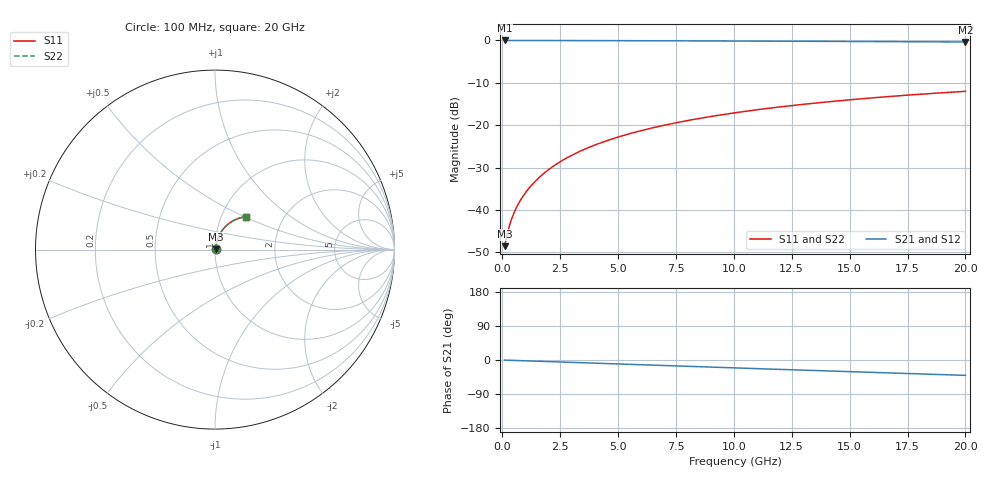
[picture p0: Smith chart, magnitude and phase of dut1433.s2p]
! Touchstone file exported from HFSS 2026.1.0
!  File:  C:/ffzhzh/LocalFiles/Ansys_Project_Files/temp_train_TMRDL_1433_1783166889_51560.aedt
!  Generated:  08:09:19 PM Jul  4, 2026
!  Design:  TMRDL
!  Project:  temp_train_TMRDL_1433_1783166889_51560
! Variables:
!  h_bsmrdl = 2um
!  h_ox = 20um
!  h_rdl = 5um
!  h_sub = 80um
!  h_tmrdl = 2.63um
!  h_tsv = 80um
!  h_via = 3um
!  l_bsmrdl = 300um
!  l_sub = 1044.55um
!  l_tmrdl = 644.55um
!  m_sub = 200um
!  pitch = 44.84um
!  r_tsv = 6um
!  s_tmrdl = 10um
!  w_bsmrdl = 18um
!  w_sub = 500um
!  w_tmrdl = 29.96um
!  x_tsv_center1 = 659.53um
!  x_tsv_center2 = 977.53um
!  x_tsv_center3 = 1652.04um
!  x_tsv_center4 = 1970.04um
!  x_tsv_center5 = 2644.55um
!  x_tsv_center6 = 2962.55um
# GHz S MA R 50.000000
! Terminal data exported
! Port[1] = TM_RDL1_1_T1
! Port[2] = TM_RDL1_1_T2
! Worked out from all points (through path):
!   200 points, 100 MHz to 20 GHz, reference 50 ohm
!   highest |S21| = -0.03 dB at 100 MHz (marker M1); lowest = -0.4 dB at 20 GHz (marker M2)
!   group delay of S21, straight-line fit = 5.63 ps
!   lowest |S11| = -48.5 dB at 100 MHz (marker M3), VSWR 1.01, Z = 50.3 + j0.184 ohm
!   |S11| at or under -10 dB: start of sweep to end of sweep
!   |S22| runs from -48.5 to -12.0 dB; largest |S21 - S12| = 4.2e-15
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0.1  0.00374 29.3  0.9967 -0.2  0.9967 -0.2  0.00374 29.3
! Gamma 0 0 0 0
! Port Impedance 50 0 50 0
0.2  0.004991 45.5  0.9965 -0.5  0.9965 -0.5  0.004991 45.5
0.3  0.006402 53.7  0.9963 -0.7  0.9963 -0.7  0.006402 53.7
0.4  0.007805 58.5  0.996 -0.9  0.996 -0.9  0.007805 58.5
0.5  0.009177 61.9  0.9958 -1.1  0.9958 -1.1  0.009177 61.9
0.6  0.01053 64.4  0.9956 -1.3  0.9956 -1.3  0.01053 64.4
0.8  0.01322 68.2  0.9954 -1.7  0.9954 -1.7  0.01323 68.2
1.1  0.01731 71.8  0.9951 -2.4  0.9951 -2.4  0.01731 71.7
1.3  0.02008 73.3  0.995 -2.8  0.995 -2.8  0.02008 73.3
1.6  0.02427 74.9  0.9948 -3.4  0.9948 -3.4  0.02427 74.9
2.1  0.03133 76.3  0.9945 -4.4  0.9945 -4.4  0.03133 76.3
2.7  0.03985 76.8  0.994 -5.7  0.994 -5.7  0.03986 76.8
3.5  0.05122 76.5  0.9932 -7.4  0.9932 -7.4  0.05123 76.5
4.2  0.06112 75.8  0.9924 -8.8  0.9924 -8.8  0.06113 75.8
5  0.07235 74.8  0.9914 -10.5  0.9914 -10.5  0.07236 74.7
5.9  0.08484 73.4  0.99 -12.4  0.99 -12.4  0.08485 73.3
6.8  0.09715 71.8  0.9885 -14.2  0.9885 -14.2  0.09716 71.8
8.3  0.1172 69.1  0.9856 -17.3  0.9856 -17.3  0.1172 69.0
10.1  0.1405 65.7  0.9818 -21.0  0.9818 -21.0  0.1405 65.6
13.4  0.1807 59.4  0.9738 -27.6  0.9738 -27.6  0.1807 59.3
16.7  0.2174 53.2  0.9652 -34.1  0.9652 -34.1  0.2175 53.0
20  0.2505 47.0  0.9564 -40.5  0.9564 -40.5  0.2505 46.8
